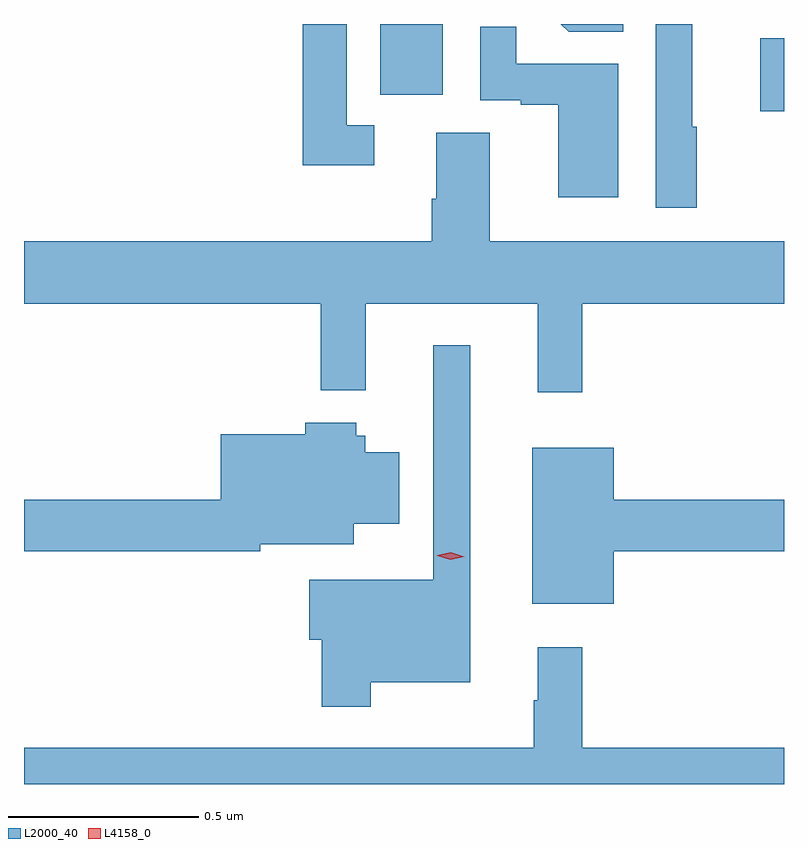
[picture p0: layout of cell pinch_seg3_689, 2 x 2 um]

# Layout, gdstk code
import gdstk
lib = gdstk.Library(unit=1e-6, precision=1e-09)
def R(c, l, rs):  # rectangles x0, y0, x1, y1
    for r in rs: c.add(gdstk.rectangle(r[:2], r[2:], *l))
def P(c, l, *ps):  # polygons
    for p in ps: c.add(gdstk.Polygon(p, *l))
L2000_40 = (2000, 40)
L4158_0 = (4158, 0)

pinch_seg3_689 = lib.new_cell('pinch_seg3_689')
R(pinch_seg3_689, L2000_40, [(1120.031,673.451,1120.094,673.642), (1119.032,673.494,1119.196,673.68)])
P(pinch_seg3_689, L2000_40, [(1119.016,673.413),(1118.943,673.413),(1118.943,673.68),(1118.827,673.68),(1118.827,673.308),(1119.016,673.308)],
  [(1119.671,673.68),(1119.507,673.68),(1119.527,673.66),(1119.671,673.66)],
  [(1119.865,673.409),(1119.853,673.409),(1119.853,673.68),(1119.756,673.68),(1119.756,673.197),(1119.865,673.197)],
  [(1119.658,673.575),(1119.389,673.575),(1119.389,673.673),(1119.294,673.673),(1119.294,673.479),(1119.401,673.479),(1119.401,673.467),(1119.5,673.467),(1119.5,673.224),(1119.658,673.224)],
  [(1119.563,672.944),(1120.094,672.944),(1120.094,673.108),(1119.319,673.108),(1119.319,673.394),(1119.179,673.394),(1119.179,673.22),(1119.167,673.22),(1119.167,673.108),(1118.094,673.108),(1118.094,672.944),(1118.875,672.944),(1118.875,672.716),(1118.993,672.716),(1118.993,672.944),(1119.446,672.944),(1119.446,672.711),(1119.563,672.711)],
  [(1119.007,671.948),(1119.268,671.948),(1119.268,672.835),(1119.171,672.835),(1119.171,672.217),(1118.844,672.217),(1118.844,672.059),(1118.878,672.059),(1118.878,671.883),(1119.007,671.883)],
  [(1118.716,672.311),(1118.962,672.311),(1118.962,672.365),(1119.082,672.365),(1119.082,672.553),(1118.992,672.553),(1118.992,672.597),(1118.968,672.597),(1118.968,672.631),(1118.834,672.631),(1118.834,672.601),(1118.612,672.601),(1118.612,672.428),(1118.094,672.428),(1118.094,672.292),(1118.716,672.292)],
  [(1119.646,672.292),(1120.094,672.292),(1120.094,672.428),(1119.646,672.428),(1119.646,672.565),(1119.431,672.565),(1119.431,672.155),(1119.646,672.155)],
  [(1120.094,671.776),(1119.563,671.776),(1119.563,672.04),(1119.446,672.04),(1119.446,671.9),(1119.435,671.9),(1119.435,671.776),(1118.094,671.776),(1118.094,671.68),(1120.094,671.68)])
P(pinch_seg3_689, L4158_0, [(1119.216,672.27),(1119.182,672.281),(1119.181,672.282),(1119.182,672.282),(1119.217,672.29),(1119.252,672.278),(1119.252,672.278),(1119.252,672.278)])

lib.write_gds('pinch_seg3_689.gds')
